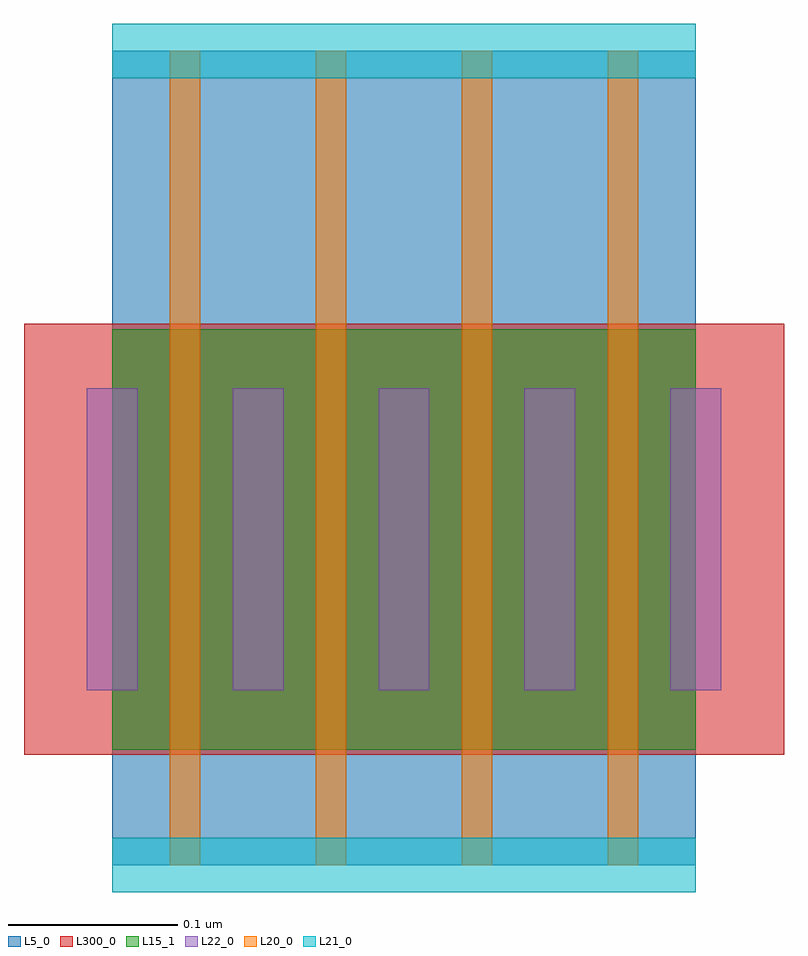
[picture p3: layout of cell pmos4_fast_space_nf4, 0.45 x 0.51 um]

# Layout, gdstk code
import gdstk
lib = gdstk.Library(unit=1e-6, precision=5e-10)
def R(c, l, rs):  # rectangles x0, y0, x1, y1
    for r in rs: c.add(gdstk.rectangle(r[:2], r[2:], *l))
L5_0 = (5, 0)
L15_1 = (15, 1)
L20_0 = (20, 0)
L21_0 = (21, 0)
L22_0 = (22, 0)
L300_0 = (300, 0)

c__pmos4_fast_space_base_n = lib.new_cell('_pmos4_fast_space_base_nf1')
R(c__pmos4_fast_space_base_n, L5_0, [(0,0,0.086,0.48), (0,0.048,0.086,0.336)])
R(c__pmos4_fast_space_base_n, L15_1, [(0,0.068,0.086,0.316)])
R(c__pmos4_fast_space_base_n, L20_0, [(0.034,0,0.052,0.48)])
R(c__pmos4_fast_space_base_n, L21_0, [(0,-0.016,0.086,0.016), (0,0.464,0.086,0.496)])
R(c__pmos4_fast_space_base_n, L22_0, [(-0.015,0.103,0.015,0.281), (0.071,0.103,0.101,0.281)])
R(c__pmos4_fast_space_base_n, L300_0, [(-0.052,0.065,0.138,0.319)])

pmos4_fast_space_nf4 = lib.new_cell('pmos4_fast_space_nf4')
R(pmos4_fast_space_nf4, L5_0, [(0,0,0.344,0.48)])
pmos4_fast_space_nf4.add(gdstk.Reference(c__pmos4_fast_space_base_n, (0.086,0)))
pmos4_fast_space_nf4.add(gdstk.Reference(c__pmos4_fast_space_base_n, (0.172,0)))
pmos4_fast_space_nf4.add(gdstk.Reference(c__pmos4_fast_space_base_n, (0.258,0)))
pmos4_fast_space_nf4.add(gdstk.Reference(c__pmos4_fast_space_base_n, (0,0)))

lib.write_gds('pmos4_fast_space_nf4.gds')
